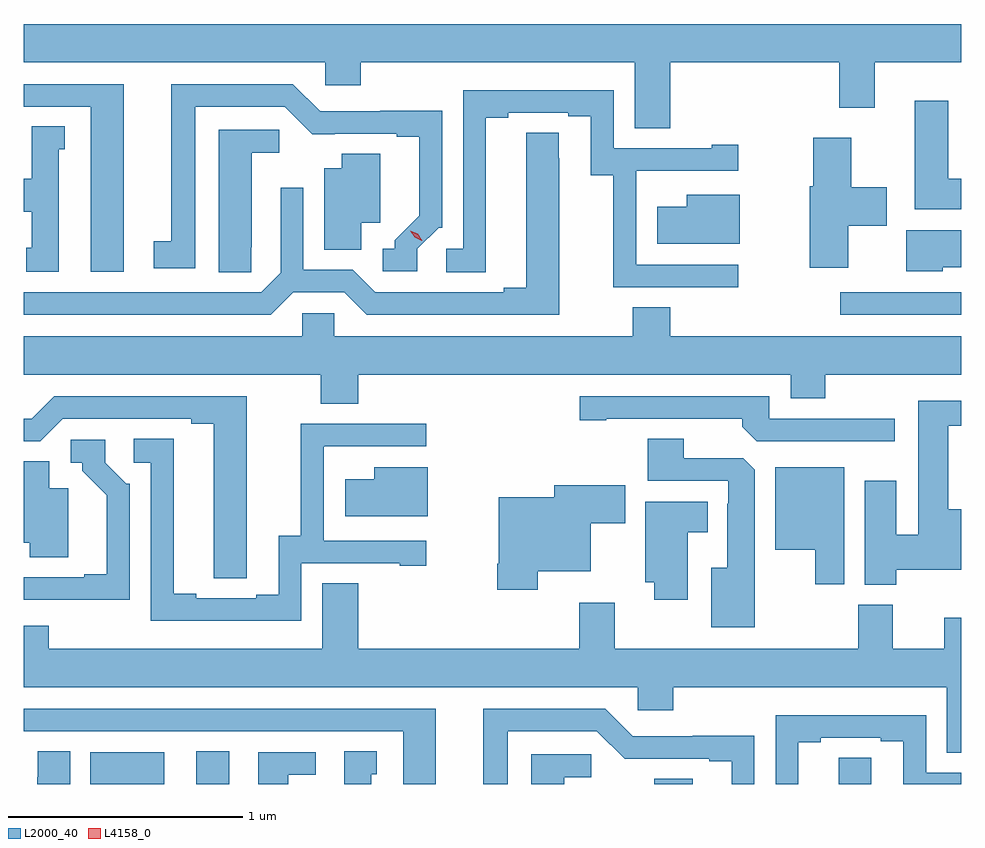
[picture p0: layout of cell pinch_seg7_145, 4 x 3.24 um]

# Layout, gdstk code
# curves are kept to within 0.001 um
import gdstk
lib = gdstk.Library(unit=1e-6, precision=1e-09)
def R(c, l, rs):  # rectangles x0, y0, x1, y1
    for r in rs: c.add(gdstk.rectangle(r[:2], r[2:], *l))
def P(c, l, *ps):  # polygons
    for p in ps: c.add(gdstk.Polygon(p, *l))
L2000_40 = (2000, 40)
L4158_0 = (4158, 0)

pinch_seg7_145 = lib.new_cell('pinch_seg7_145')
R(pinch_seg7_145, L2000_40, [(1057.595,1020.183,1057.912,1020.319), (1058.048,1020.183,1058.188,1020.323), (1060.001,1020.183,1060.165,1020.206), (1060.794,1022.184,1061.311,1022.28)])
P(pinch_seg7_145, L2000_40, [(1060.07,1023.26),(1060.79,1023.26),(1060.79,1023.066),(1060.942,1023.066),(1060.942,1023.26),(1061.311,1023.26),(1061.311,1023.424),(1057.311,1023.424),(1057.311,1023.26),(1058.598,1023.26),(1058.598,1023.162),(1058.75,1023.162),(1058.75,1023.26),(1059.917,1023.26),(1059.917,1022.98),(1060.07,1022.98)],
  [(1057.738,1023.168),(1057.311,1023.168),(1057.311,1023.072),(1057.598,1023.072),(1057.598,1022.367),(1057.738,1022.367)],
  [(1058.991,1022.466),(1059.081,1022.556),(1059.096,1022.556),(1059.096,1023.053),(1058.833,1023.053),(1058.833,1023.051),(1058.577,1023.051),(1058.46,1023.168),(1057.94,1023.168),(1057.94,1022.498),(1057.866,1022.498),(1057.866,1022.382),(1058.044,1022.382),(1058.044,1023.072),(1058.424,1023.072),(1058.542,1022.954),(1058.903,1022.955),(1058.903,1022.943),(1058.999,1022.943),(1058.999,1022.606),(1058.894,1022.501),(1058.894,1022.466),(1058.844,1022.466),(1058.844,1022.37),(1058.991,1022.37)],
  [(1060.36,1022.397),(1059.924,1022.397),(1059.924,1022.798),(1059.926,1022.798),(1059.926,1022.799),(1060.36,1022.799),(1060.36,1022.908),(1060.247,1022.908),(1060.247,1022.895),(1059.828,1022.895),(1059.828,1023.141),(1059.186,1023.141),(1059.186,1022.466),(1059.114,1022.466),(1059.114,1022.365),(1059.283,1022.365),(1059.283,1023.025),(1059.379,1023.025),(1059.379,1023.045),(1059.635,1023.045),(1059.635,1023.03),(1059.731,1023.03),(1059.731,1022.779),(1059.826,1022.779),(1059.826,1022.301),(1060.36,1022.301)],
  [(1061.311,1022.764),(1061.254,1022.764),(1061.254,1023.097),(1061.111,1023.097),(1061.111,1022.633),(1061.311,1022.633)],
  [(1057.462,1022.889),(1057.486,1022.889),(1057.486,1022.987),(1057.346,1022.987),(1057.346,1022.764),(1057.311,1022.764),(1057.311,1022.624),(1057.346,1022.624),(1057.346,1022.469),(1057.322,1022.469),(1057.322,1022.367),(1057.462,1022.367)],
  [(1058.283,1022.473),(1058.284,1022.473),(1058.284,1022.876),(1058.401,1022.876),(1058.401,1022.973),(1058.144,1022.973),(1058.144,1022.365),(1058.283,1022.365)],
  [(1058.461,1022.28),(1058.679,1022.28),(1058.775,1022.184),(1059.595,1022.184),(1059.594,1022.96),(1059.455,1022.96),(1059.455,1022.3),(1059.359,1022.3),(1059.359,1022.28),(1058.811,1022.28),(1058.715,1022.376),(1058.505,1022.376),(1058.505,1022.725),(1058.409,1022.725),(1058.409,1022.364),(1058.325,1022.28),(1057.311,1022.28),(1057.311,1022.184),(1058.365,1022.184)],
  [(1060.828,1022.564),(1060.993,1022.564),(1060.993,1022.727),(1060.84,1022.727),(1060.84,1022.938),(1060.678,1022.938),(1060.678,1022.733),(1060.663,1022.733),(1060.663,1022.385),(1060.828,1022.385)],
  [(1058.752,1022.576),(1058.833,1022.576),(1058.833,1022.87),(1058.669,1022.87),(1058.669,1022.809),(1058.594,1022.809),(1058.594,1022.461),(1058.752,1022.461)],
  [(1060.366,1022.695),(1060.139,1022.695),(1060.139,1022.644),(1060.014,1022.644),(1060.014,1022.486),(1060.366,1022.486)],
  [(1061.232,1022.387),(1061.311,1022.387),(1061.311,1022.545),(1061.075,1022.545),(1061.075,1022.369),(1061.232,1022.369)],
  [(1058.738,1021.928),(1060.583,1021.928),(1060.583,1021.829),(1060.731,1021.829),(1060.731,1021.928),(1061.311,1021.928),(1061.311,1022.092),(1060.07,1022.092),(1060.07,1022.216),(1059.91,1022.216),(1059.91,1022.092),(1058.637,1022.092),(1058.637,1022.19),(1058.499,1022.19),(1058.499,1022.092),(1057.311,1022.092),(1057.311,1021.928),(1058.578,1021.928),(1058.578,1021.804),(1058.738,1021.804)],
  [(1058.262,1021.168),(1058.263,1021.836),(1057.443,1021.836),(1057.347,1021.74),(1057.311,1021.74),(1057.311,1021.644),(1057.383,1021.644),(1057.479,1021.74),(1058.027,1021.74),(1058.027,1021.72),(1058.123,1021.72),(1058.123,1021.06),(1058.262,1021.06)],
  [(1061.026,1021.74),(1060.491,1021.74),(1060.491,1021.836),(1059.684,1021.836),(1059.684,1021.735),(1059.796,1021.735),(1059.796,1021.74),(1060.376,1021.74),(1060.376,1021.706),(1060.437,1021.644),(1061.026,1021.644)],
  [(1061.032,1021.097),(1061.311,1021.097),(1061.311,1021.354),(1061.254,1021.354),(1061.254,1021.71),(1061.311,1021.71),(1061.311,1021.818),(1061.126,1021.818),(1061.126,1021.245),(1061.032,1021.245),(1061.032,1021.477),(1060.898,1021.477),(1060.898,1021.033),(1061.032,1021.033)],
  [(1058.496,1021.125),(1058.915,1021.125),(1058.915,1021.113),(1059.028,1021.113),(1059.028,1021.221),(1058.592,1021.221),(1058.592,1021.622),(1058.594,1021.622),(1058.594,1021.623),(1059.028,1021.623),(1059.028,1021.719),(1058.494,1021.719),(1058.494,1021.241),(1058.399,1021.241),(1058.399,1020.99),(1058.303,1020.99),(1058.303,1020.975),(1058.047,1020.975),(1058.047,1020.995),(1057.951,1020.995),(1057.951,1021.655),(1057.782,1021.655),(1057.782,1021.554),(1057.854,1021.554),(1057.854,1020.879),(1058.496,1020.879)],
  [(1060.429,1021.523),(1060.38,1021.572),(1060.126,1021.572),(1060.126,1021.655),(1059.974,1021.655),(1059.974,1021.476),(1060.317,1021.476),(1060.317,1021.379),(1060.313,1021.379),(1060.313,1021.105),(1060.244,1021.105),(1060.244,1020.851),(1060.429,1020.851)],
  [(1057.764,1021.464),(1057.749,1021.464),(1057.659,1021.554),(1057.659,1021.65),(1057.512,1021.65),(1057.512,1021.554),(1057.562,1021.554),(1057.562,1021.519),(1057.667,1021.414),(1057.667,1021.078),(1057.571,1021.078),(1057.571,1021.065),(1057.311,1021.065),(1057.311,1020.969),(1057.764,1020.968)],
  [(1057.501,1021.444),(1057.42,1021.444),(1057.42,1021.559),(1057.311,1021.559),(1057.311,1021.211),(1057.337,1021.211),(1057.337,1021.15),(1057.501,1021.15)],
  [(1059.034,1021.534),(1058.807,1021.534),(1058.807,1021.483),(1058.682,1021.483),(1058.682,1021.325),(1059.034,1021.325)],
  [(1060.81,1021.534),(1060.517,1021.534),(1060.517,1021.181),(1060.688,1021.181),(1060.688,1021.035),(1060.81,1021.035)],
  [(1059.504,1021.091),(1059.73,1021.091),(1059.73,1021.294),(1059.877,1021.294),(1059.877,1021.456),(1059.575,1021.456),(1059.575,1021.405),(1059.338,1021.405),(1059.338,1021.123),(1059.331,1021.123),(1059.331,1021.011),(1059.504,1021.011)],
  [(1060.144,1021.256),(1060.228,1021.256),(1060.228,1021.387),(1059.962,1021.387),(1059.962,1021.043),(1060.001,1021.043),(1060.001,1020.969),(1060.144,1020.969)],
  [(1059.68,1020.955),(1059.68,1020.76),(1058.738,1020.76),(1058.738,1021.04),(1058.585,1021.04),(1058.585,1020.76),(1057.418,1020.76),(1057.418,1020.858),(1057.311,1020.858),(1057.311,1020.596),(1059.93,1020.596),(1059.93,1020.498),(1060.082,1020.498),(1060.082,1020.596),(1061.249,1020.596),(1061.249,1020.316),(1061.311,1020.316),(1061.311,1020.892),(1061.237,1020.892),(1061.237,1020.76),(1061.017,1020.76),(1061.017,1020.948),(1060.87,1020.948),(1060.87,1020.76),(1059.832,1020.76),(1059.832,1020.955)],
  [(1059.07,1020.504),(1057.311,1020.504),(1057.311,1020.408),(1058.93,1020.408),(1058.93,1020.183),(1059.07,1020.183)],
  [(1059.376,1020.408),(1059.756,1020.408),(1059.874,1020.29),(1060.235,1020.291),(1060.235,1020.279),(1060.331,1020.279),(1060.331,1020.183),(1060.428,1020.183),(1060.428,1020.389),(1060.165,1020.389),(1060.165,1020.387),(1059.909,1020.387),(1059.792,1020.504),(1059.272,1020.504),(1059.272,1020.183),(1059.376,1020.183)],
  [(1060.615,1020.361),(1060.711,1020.361),(1060.711,1020.381),(1060.967,1020.381),(1060.967,1020.366),(1061.063,1020.366),(1061.063,1020.183),(1061.311,1020.183),(1061.311,1020.231),(1061.16,1020.231),(1061.16,1020.477),(1060.518,1020.477),(1060.518,1020.183),(1060.615,1020.183)],
  [(1058.794,1020.225),(1058.818,1020.225),(1058.818,1020.323),(1058.678,1020.323),(1058.678,1020.183),(1058.794,1020.183)],
  [(1057.51,1020.323),(1057.371,1020.323),(1057.371,1020.212),(1057.37,1020.212),(1057.37,1020.183),(1057.51,1020.183)],
  [(1058.44,1020.222),(1058.557,1020.222),(1058.557,1020.318),(1058.312,1020.318),(1058.312,1020.183),(1058.44,1020.183)],
  [(1059.616,1020.212),(1059.733,1020.212),(1059.733,1020.309),(1059.476,1020.309),(1059.476,1020.183),(1059.616,1020.183)],
  [(1060.927,1020.188),(1060.926,1020.188),(1060.926,1020.296),(1060.787,1020.296),(1060.787,1020.183),(1060.927,1020.183)])
P(pinch_seg7_145, L4158_0, [(1059.01,1022.499),(1058.979,1022.514),(1058.96,1022.543),(1058.96,1022.543),(1058.96,1022.543),(1058.992,1022.529),(1059.011,1022.5),(1059.011,1022.499)])

lib.write_gds('pinch_seg7_145.gds')
